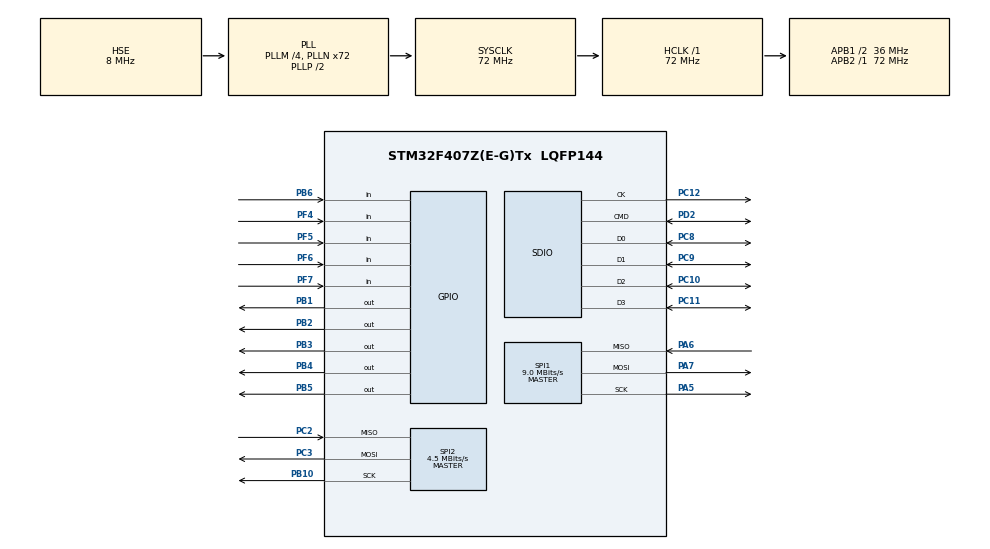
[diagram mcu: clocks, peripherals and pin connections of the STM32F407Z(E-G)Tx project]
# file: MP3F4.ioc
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FATFS._FS_LOCK=16
Mcu.Family=STM32F4
Mcu.Name=STM32F407Z(E-G)Tx
Mcu.Package=LQFP144
NVIC.PriorityGroup=NVIC_PRIORITYGROUP_4
NVIC.SDIO_IRQn=true\:0\:0\:false\:false\:true\:true
PA13.Mode=Trace_Synchro_2bits_SW
PA13.Signal=SYS_JTMS-SWDIO
PA14.Mode=Trace_Synchro_2bits_SW
PA14.Signal=SYS_JTCK-SWCLK
PA5.Mode=Full_Duplex_Master
PA5.Signal=SPI1_SCK
PA6.Mode=Full_Duplex_Master
PA6.Signal=SPI1_MISO
PA7.Mode=Full_Duplex_Master
PA7.Signal=SPI1_MOSI
PB1.GPIO_Speed=GPIO_SPEED_FREQ_MEDIUM
PB1.Signal=GPIO_Output
PB10.Mode=Full_Duplex_Master
PB10.Signal=SPI2_SCK
PB2.GPIO_Speed=GPIO_SPEED_FREQ_MEDIUM
PB2.Signal=GPIO_Output
PB3.GPIO_Speed=GPIO_SPEED_FREQ_LOW
PB3.Signal=GPIO_Output
PB4.GPIO_Speed=GPIO_SPEED_FREQ_LOW
PB4.Signal=GPIO_Output
PB5.GPIO_Speed=GPIO_SPEED_FREQ_MEDIUM
PB5.Signal=GPIO_Output
PB6.Signal=GPIO_Input
PC10.Mode=SD_4_bits_Wide_bus
PC10.Signal=SDIO_D2
PC11.Mode=SD_4_bits_Wide_bus
PC11.Signal=SDIO_D3
PC12.Mode=SD_4_bits_Wide_bus
PC12.Signal=SDIO_CK
PC2.Mode=Full_Duplex_Master
PC2.Signal=SPI2_MISO
PC3.Mode=Full_Duplex_Master
PC3.Signal=SPI2_MOSI
PC8.Mode=SD_4_bits_Wide_bus
PC8.Signal=SDIO_D0
PC9.Mode=SD_4_bits_Wide_bus
PC9.Signal=SDIO_D1
PD2.Mode=SD_4_bits_Wide_bus
PD2.Signal=SDIO_CMD
PE2.Mode=Trace_Synchro_2bits_SW
PE2.Signal=SYS_TRACECLK
PE3.Mode=Trace_Synchro_2bits_SW
PE3.Signal=SYS_TRACED0
PE4.Mode=Trace_Synchro_2bits_SW
PE4.Signal=SYS_TRACED1
PF4.GPIO_PuPd=GPIO_PULLUP
PF4.Signal=GPIO_Input
PF5.GPIO_PuPd=GPIO_PULLUP
PF5.Signal=GPIO_Input
PF6.GPIO_PuPd=GPIO_PULLUP
PF6.Signal=GPIO_Input
PF7.GPIO_PuPd=GPIO_PULLUP
PF7.Signal=GPIO_Input
PH0-OSC_IN.Mode=HSE-External-Oscillator
PH0-OSC_IN.Signal=RCC_OSC_IN
PH1-OSC_OUT.Mode=HSE-External-Oscillator
PH1-OSC_OUT.Signal=RCC_OSC_OUT
ProjectManager.HeapSize=0x7F00
ProjectManager.StackSize=0x2000
ProjectManager.TargetToolchain=MDK-ARM V5
RCC.48MHZClocksFreq_Value=48000000
RCC.AHBFreq_Value=72000000
RCC.APB1CLKDivider=RCC_HCLK_DIV2
RCC.APB1Freq_Value=36000000
RCC.APB1TimFreq_Value=72000000
RCC.APB2Freq_Value=72000000
RCC.APB2TimFreq_Value=72000000
RCC.CortexFreq_Value=72000000
RCC.HCLKFreq_Value=72000000
RCC.HSE_VALUE=8000000
RCC.HSI_VALUE=16000000
RCC.PLLM=4
RCC.PLLN=72
RCC.PLLQ=3
RCC.PLLSourceVirtual=RCC_PLLSOURCE_HSE
RCC.RCC_RTC_Clock_Source=RCC_RTCCLKSOURCE_LSI
RCC.RCC_RTC_Clock_SourceVirtual=RCC_RTCCLKSOURCE_LSE
RCC.SYSCLKFreq_VALUE=72000000
RCC.SYSCLKSource=RCC_SYSCLKSOURCE_PLLCLK
RCC.VCOOutputFreq_Value=144000000
RTC.Date=7
RTC.Format=RTC_FORMAT_BIN
RTC.Hours=15
RTC.Minutes=38
RTC.Month=RTC_MONTH_FEBRUARY
RTC.StoreOperation=RTC_STOREOPERATION_SET
RTC.WeekDay=RTC_WEEKDAY_WEDNESDAY
RTC.Year=18
SDIO.ClockDiv=5
SPI1.BaudRatePrescaler=SPI_BAUDRATEPRESCALER_8
SPI1.CLKPolarity=SPI_POLARITY_HIGH
SPI1.CalculateBaudRate=9.0 MBits/s
SPI1.Direction=SPI_DIRECTION_2LINES
SPI1.Mode=SPI_MODE_MASTER
SPI1.VirtualType=VM_MASTER
SPI2.BaudRatePrescaler=SPI_BAUDRATEPRESCALER_8
SPI2.CRCCalculation=SPI_CRCCALCULATION_DISABLE
SPI2.CalculateBaudRate=4.5 MBits/s
SPI2.Direction=SPI_DIRECTION_2LINES
SPI2.Mode=SPI_MODE_MASTER
SPI2.VirtualType=VM_MASTER
VP_FATFS_VS_SDIO.Mode=SDIO
VP_RTC_VS_RTC_Activate.Mode=RTC_Enabled
VP_RTC_VS_RTC_Calendar.Mode=RTC_Calendar
board=MP3F4

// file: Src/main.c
/**
  ******************************************************************************
  * File Name          : main.c
  * Description        : Main program body
  ******************************************************************************
  * This notice applies to any and all portions of this file
  * that are not between comment pairs USER CODE BEGIN and
  * USER CODE END. Other portions of this file, whether
  * inserted by the user or by software development tools
  * are owned by their respective copyright owners.
  *
  * Copyright (c) 2018 STMicroelectronics International N.V.
  * All rights reserved.
  *
  * Redistribution and use in source and binary forms, with or without
  * modification, are permitted, provided that the following conditions are met:
  *
  * 1. Redistribution of source code must retain the above copyright notice,
  *    this list of conditions and the following disclaimer.
  * 2. Redistributions in binary form must reproduce the above copyright notice,
  *    this list of conditions and the following disclaimer in the documentation
  *    and/or other materials provided with the distribution.
  * 3. Neither the name of STMicroelectronics nor the names of other
  *    contributors to this software may be used to endorse or promote products
  *    derived from this software without specific written permission.
  * 4. This software, including modifications and/or derivative works of this
  *    software, must execute solely and exclusively on microcontroller or
  *    microprocessor devices manufactured by or for STMicroelectronics.
  * 5. Redistribution and use of this software other than as permitted under
  *    this license is void and will automatically terminate your rights under
  *    this license.
  *
  * THIS SOFTWARE IS PROVIDED BY STMICROELECTRONICS AND CONTRIBUTORS "AS IS"
  * AND ANY EXPRESS, IMPLIED OR STATUTORY WARRANTIES, INCLUDING, BUT NOT
  * LIMITED TO, THE IMPLIED WARRANTIES OF MERCHANTABILITY, FITNESS FOR A
  * PARTICULAR PURPOSE AND NON-INFRINGEMENT OF THIRD PARTY INTELLECTUAL PROPERTY
  * RIGHTS ARE DISCLAIMED TO THE FULLEST EXTENT PERMITTED BY LAW. IN NO EVENT
  * SHALL STMICROELECTRONICS OR CONTRIBUTORS BE LIABLE FOR ANY DIRECT, INDIRECT,
  * INCIDENTAL, SPECIAL, EXEMPLARY, OR CONSEQUENTIAL DAMAGES (INCLUDING, BUT NOT
  * LIMITED TO, PROCUREMENT OF SUBSTITUTE GOODS OR SERVICES; LOSS OF USE, DATA,
  * OR PROFITS; OR BUSINESS INTERRUPTION) HOWEVER CAUSED AND ON ANY THEORY OF
  * LIABILITY, WHETHER IN CONTRACT, STRICT LIABILITY, OR TORT (INCLUDING
  * NEGLIGENCE OR OTHERWISE) ARISING IN ANY WAY OUT OF THE USE OF THIS SOFTWARE,
  * EVEN IF ADVISED OF THE POSSIBILITY OF SUCH DAMAGE.
  *
  ******************************************************************************
  */
#include "main.h"
#include "stm32f4xx_hal.h"
#include "fatfs.h"

/* USER CODE BEGIN Includes */
#include "lcd_ili9341.h"
#include "vs1053b.h"
#include "string.h"
/* USER CODE END Includes */

RTC_HandleTypeDef hrtc;

SD_HandleTypeDef hsd;

SPI_HandleTypeDef hspi1;
SPI_HandleTypeDef hspi2;

/* USER CODE BEGIN PV */
/* Private variables ---------------------------------------------------------*/
FATFS SDfat;
uint8_t keySta=0;
uint8_t sofSta = 0;
fileNumber numOfFile;
uint8_t needReprint = 0;
uint8_t fullSchedule=0;
GPIO_TypeDef *ports[] = {GPIOF, GPIOF, GPIOF, GPIOF};
uint16_t keys[] = {GPIO_PIN_4, GPIO_PIN_5, GPIO_PIN_6, GPIO_PIN_7};
char *weekday[]={"MON","TUE","WED","THU","FRI","SAT","SUN"};
	uint8_t numofmon[]={31,28,31,30,31,30,31,31,30,31,30,31};
/* USER CODE END PV */

void SystemClock_Config(void);
static void MX_GPIO_Init(void);
static void MX_SDIO_SD_Init(void);
static void MX_SPI1_Init(void);
static void MX_SPI2_Init(void);
static void MX_RTC_Init(void);

/* USER CODE BEGIN PFP */
/* Private function prototypes -----------------------------------------------*/
void show_Sub_Menu(stack *now, uint16_t choosen, uint8_t type,
                   uint8_t refresh);
void show_Title(void);
/* USER CODE END PFP */

/* USER CODE BEGIN 0 */
void show_Schedule_Menu(uint8_t choosen) {
	for(int i=0;i<6;i++){
		drawRectangle(0, 42 + 20*i , 240, 18, RGB(0xaa, 0xaa, 0xaa));
	}
	drawRectangle(0, 42 + 20*choosen, 240, 18, RGB(0xdd, 0xdd, 0xdd));
	drawEnSentence(0,47,"Start Schedule",14,0x0000);
	drawEnSentence(0,67,"Set Time",8,0x0000);
	drawEnSentence(0,87,"View Rule",9,0x0000);
	drawEnSentence(0,107,"Add new Rule",12,0x0000);
	drawEnSentence(0,127,"Delete Rule",11,0x0000);
	drawEnSentence(0,147,"Clear Rule",10,0x0000);
}

void Set_Time(){
	uint8_t i=0;
	uint8_t delayTime=100;
	RTC_TimeTypeDef sTime;
	sTime.Hours=0;
	sTime.Minutes=0;
	sTime.Seconds=0;
  RTC_DateTypeDef sDate;
	sDate.Year=0;
  sDate.WeekDay = RTC_WEEKDAY_MONDAY;
  sDate.Month = RTC_MONTH_JANUARY;
  sDate.Date = 0;

	uint8_t needPrint=1;
	uint8_t step=0;
	char tempchar[20];

	while(1){

    for (i = 0; i < 4; i++) {
      if (0 == HAL_GPIO_ReadPin(ports[i], keys[i])) {
        HAL_Delay(10);
        if (0 == HAL_GPIO_ReadPin(ports[i], keys[i])) {
          if(i!=2 && keySta==i){
						delayTime=10;
					}else{
						delayTime=100;
					}
					break;
				}
      }
    }

		keySta=i;

		if(step==0){
			if(keySta == 0 && sDate.Year > 0) {
        sDate.Year--;
				needPrint=1;
      } else if (keySta == 1 && sDate.Year < 99) {
        sDate.Year++;
				needPrint=1;
      } else if (keySta == 2) {
				HAL_Delay(50);
				step++;
			} else if(keySta == 3){
				return;
			}
		}else if(step==1){
			if(keySta == 0 && sDate.Month > 1) {
        sDate.Month--;
				needPrint=1;
      } else if (keySta == 1 && sDate.Month < 12) {
        sDate.Month++;
				needPrint=1;
      } else if (keySta == 2) {
				HAL_Delay(50);
				step++;
			} else if(keySta == 3){
				return;
			}
		}else if(step==3){
			if(keySta == 0 && sDate.WeekDay > 1) {
        sDate.WeekDay--;
				needPrint=1;
      } else if (keySta == 1 && sDate.WeekDay < 7) {
        sDate.WeekDay++;
				needPrint=1;
      } else if (keySta == 2) {
				HAL_Delay(50);
				step++;
			} else if(keySta == 3){
				return;
			}
		}else if(step==2){
			if(keySta == 0 && sDate.Date > 1) {
        sDate.Date--;
				needPrint=1;
      } else if (keySta == 1 && sDate.Date < numofmon[sDate.Month-1]) {
        sDate.Date++;
				needPrint=1;
      } else if (keySta == 2) {
				HAL_Delay(50);
				step++;
			} else if(keySta == 3){
				return;
			}
		}else if(step==4){
			if(keySta == 0 && sTime.Hours > 0) {
        sTime.Hours--;
				needPrint=1;
      } else if (keySta == 1 && sTime.Hours < 23) {
        sTime.Hours++;
				needPrint=1;
      } else if (keySta == 2) {
				HAL_Delay(50);
				step++;
			} else if(keySta == 3){
				return;
			}
		}else if(step==5){
			if(keySta == 0 && sTime.Minutes > 0) {
        sTime.Minutes--;
				needPrint=1;
      } else if (keySta == 1 && sTime.Minutes < 59) {
        sTime.Minutes++;
				needPrint=1;
      } else if (keySta == 2) {
				HAL_Delay(50);
				step++;
			} else if(keySta == 3){
				return;
			}
		}else if(step==6){
			drawEnSentence(120-9*strlen("Confirm[Y/N]")/2,200,"Confirm[Y/N]",strlen("Confirm[Y/N]"),0x0000);
			if (keySta == 2) {

				  hrtc.Instance = RTC;
					hrtc.Init.HourFormat = RTC_HOURFORMAT_24;
					hrtc.Init.AsynchPrediv = 127;
					hrtc.Init.SynchPrediv = 255;
					hrtc.Init.OutPut = RTC_OUTPUT_DISABLE;
					hrtc.Init.OutPutPolarity = RTC_OUTPUT_POLARITY_HIGH;
					hrtc.Init.OutPutType = RTC_OUTPUT_TYPE_OPENDRAIN;

				sTime.DayLightSaving = RTC_DAYLIGHTSAVING_NONE;
				sTime.StoreOperation = RTC_STOREOPERATION_SET;
				HAL_RTC_Init(&hrtc);
				HAL_RTC_SetDate(&hrtc,&sDate,RTC_FORMAT_BIN);
				HAL_RTC_SetTime(&hrtc,&sTime,RTC_FORMAT_BIN);
				return;
			} else if(keySta == 3){
				return;
			}
		}
		if(needPrint){
			drawRectangle(0,160,240,60,0xffff);
			sprintf(tempchar,"20%02d.%d.%d %s",sDate.Year,sDate.Month,sDate.Date,weekday[sDate.WeekDay-1]);
			drawEnSentence(120-9*strlen(tempchar)/2,160,tempchar,strlen(tempchar),0x0000);
			sprintf(tempchar,"%02d:%02d",sTime.Hours,sTime.Minutes);
			drawEnSentence(120-9*strlen(tempchar)/2,180,tempchar,strlen(tempchar),0x0000);
			needPrint=0;
		}
		HAL_Delay(delayTime);
	}
}

void create_Shfile(){
	FIL sdfile;
	f_open(&sdfile, "0:/Sch.lis", FA_CREATE_ALWAYS);
  HAL_Delay(1);
  f_close(&sdfile);
}

void write_Shfile(uint8_t *timedata,uint8_t * path){
	FIL sdfile;
	FRESULT res;
	uint32_t bw;
	f_open(&sdfile, "0:/Sch.lis", FA_WRITE);
  HAL_Delay(1);
	res = f_lseek(&sdfile, f_size(&sdfile));
  if (res != FR_OK) return;
  res = f_write(&sdfile, timedata, 4, &bw);
	res = f_write(&sdfile, path, 40, &bw);
  res = f_close(&sdfile);
}

void read_Shfile(uint8_t *timedata,uint8_t * path,uint8_t index){
	FIL sdfile;
	FRESULT res;
	uint32_t bw;
	f_open(&sdfile, "0:/Sch.lis", FA_READ);
  HAL_Delay(1);
	res = f_lseek(&sdfile, 44*index);
  if (res != FR_OK) return;
  res = f_read(&sdfile, timedata, 4, &bw);
	res = f_read(&sdfile, path, 40, &bw);
  res = f_close(&sdfile);
}

uint8_t read_Slot(uint8_t *path, uint8_t *timeData, uint8_t index){
	read_Shfile(timeData,path,index);
	return timeData[0];
}

void start_Schedule(){
	RTC_DateTypeDef sDate;
	RTC_TimeTypeDef sTime;
	FIL ScheduleFil;
	uint8_t numofSlot;
	f_open(&ScheduleFil,"0:/Sch.lis",FA_READ);
	numofSlot=f_size(&ScheduleFil)/44;
	f_close(&ScheduleFil);
	uint8_t nextSlot=0;
	uint8_t timeData[4];
	uint8_t path[40];
	uint32_t minTime=0xffffffff;
	uint32_t timetoNext=0;
	char tempchar[24];

	while(1){

		 if (0 == HAL_GPIO_ReadPin(ports[3], keys[3])) {
       HAL_Delay(2000);
        if (0 == HAL_GPIO_ReadPin(ports[3], keys[3])) {
					return;
				}
      }
		show_Title();
		timetoNext=0;
		HAL_RTC_GetTime(&hrtc,&sTime,RTC_FORMAT_BIN);
		HAL_RTC_GetDate(&hrtc,&sDate,RTC_FORMAT_BIN);

		for(int i=0;i<numofSlot;i++){
			if(read_Slot(path,timeData,i)){
				if(timeData[1]>numofmon[sDate.Month-1]) continue;
				if(timeData[1]<sDate.Date){
					timetoNext=24*60*(numofmon[sDate.Month-1]+sDate.Date-1-timeData[1])+timeData[2]*60+timeData[3]+(23-sTime.Hours)*60+(59-sTime.Minutes);
				}else if(timeData[1]==sDate.Date){
					if(timeData[2]<sTime.Hours){
						timetoNext=24*60*(numofmon[sDate.Month-1]+sDate.Date-1-timeData[1])+timeData[2]*60+timeData[3]+(23-sTime.Hours)*60+(59-sTime.Minutes);
					}else if(timeData[2]==sTime.Hours){
						if(timeData[3]<sTime.Minutes){
							timetoNext=24*60*(numofmon[sDate.Month-1]+sDate.Date-1-timeData[1])+timeData[2]*60+timeData[3]+(23-sTime.Hours)*60+(59-sTime.Minutes);
						}else{
							timetoNext=timeData[3]-sTime.Minutes;
						}
					}else{
						timetoNext=(timeData[2]-sTime.Hours)*60+timeData[3]-sTime.Minutes;
					}
				}else{
					timetoNext=24*60*(timeData[1]-sDate.WeekDay-1)+timeData[2]*60+timeData[3]+(23-sTime.Hours)*60+(59-sTime.Minutes);
				}
			}else{
				if(timeData[1]<sDate.WeekDay){
					timetoNext=24*60*(7+sDate.WeekDay-1-timeData[1])+timeData[2]*60+timeData[3]+(23-sTime.Hours)*60+(59-sTime.Minutes);
				}else if(timeData[1]==sDate.WeekDay){
					if(timeData[2]<sTime.Hours){
						timetoNext=24*60*(7+sDate.WeekDay-1-timeData[1])+timeData[2]*60+timeData[3]+(23-sTime.Hours)*60+(59-sTime.Minutes);
					}else if(timeData[2]==sTime.Hours){
						if(timeData[3]<sTime.Minutes){
							timetoNext=24*60*(7+sDate.WeekDay-1-timeData[1])+timeData[2]*60+timeData[3]+(23-sTime.Hours)*60+(59-sTime.Minutes);
						}else{
							timetoNext=timeData[3]-sTime.Minutes;
						}
					}else{
						timetoNext=(timeData[2]-sTime.Hours)*60+timeData[3]-sTime.Minutes;
					}
				}else{
					timetoNext=24*60*(timeData[1]-sDate.WeekDay-1)+timeData[2]*60+timeData[3]+(23-sTime.Hours)*60+(59-sTime.Minutes);
				}
			}
			if(timetoNext<minTime){
				minTime=timetoNext;
				nextSlot=i;
			}
		}

			sprintf(tempchar,"20%02d.%d.%d %s",sDate.Year,sDate.Month,sDate.Date,weekday[sDate.WeekDay-1]);
			drawEnSentence(120-9*strlen(tempchar)/2,100,tempchar,strlen(tempchar),0x0000);
			sprintf(tempchar,"%02d:%02d",sTime.Hours,sTime.Minutes);
			drawEnSentence(120-9*strlen(tempchar)/2,120,tempchar,strlen(tempchar),0x0000);

		if(read_Slot(path,timeData,nextSlot)){
			sprintf(tempchar,"At %02d:%02d On %02d",timeData[2],timeData[3],timeData[1]);
		}else{
			sprintf(tempchar,"At %02d:%02d On %s",timeData[2],timeData[3],weekday[timeData[1]-1]);
		}

		drawEnSentence(120-9*strlen((char *)path)/2,160,(char *)path,strlen((char *)path),0x0000);
		drawEnSentence(120-9*strlen(tempchar)/2,180,tempchar,strlen(tempchar),0x0000);

		if(minTime==0){
			vs1053b_play_music((char *)path);
			continue;
		}

		HAL_Delay(5000);
	}
}

void create_Slot(){
	uint8_t choosen=0;
	uint8_t delayTime=100;
	uint8_t i=0;
	uint8_t step=0;
	uint8_t refresh=0;
	stack now;
	uint8_t isfirst=1;
	uint8_t tempMp3[40];
	uint8_t timeData[4];
	uint8_t tempchar[10];

	while(1){
    for (i = 0; i < 4; i++) {
      if (0 == HAL_GPIO_ReadPin(ports[i], keys[i])) {
        HAL_Delay(10);
        if (0 == HAL_GPIO_ReadPin(ports[i], keys[i])) {
          if(i!=2 && keySta==i){
						delayTime=10;
					}else{
						delayTime=120;
					}
					break;
				}
      }
    }

		keySta=i;

		if(step==0){
			if(isfirst){
				show_Title();
				now.nums = numOfFile.mp3;
        show_Sub_Menu(&now, 0, 0, 1);
				isfirst=0;
			}
      if (keySta == 0 && choosen > 0) {
        choosen--;
        if (choosen % 14 == 13) refresh = 1;
				now.nums = numOfFile.mp3;
				show_Sub_Menu(&now, choosen, 0, refresh);
				refresh = 0;
      } else if (keySta == 1 && choosen < numOfFile.mp3 - 1) {
        choosen++;
        if (choosen % 14 == 0) refresh = 1;
				now.nums = numOfFile.mp3;
				show_Sub_Menu(&now, choosen, 0, refresh);
				refresh = 0;
      } else if (keySta == 2) {
				now.nums = fullSchedule - choosen;
				getData(&now,0);
				strcpy((char *)tempMp3,now.path);
				step++;
				isfirst=1;
				HAL_Delay(50);
			} else if(keySta == 3){
				return;
			}
		}else if(step==1){
			if(isfirst){
				show_Title();
				choosen=1;
				isfirst=0;
				drawRectangle(0, 42 , 240, 18, RGB(0xdd, 0xdd, 0xdd));
				drawEnSentence(0,47,"By Date",strlen("By Date"),0x0000);
				drawRectangle(0, 42+20 , 240, 18, RGB(0xaa, 0xaa, 0xaa));
				drawEnSentence(0,47+20,"By Weekday",strlen("By Weekday"),0x0000);
			}
			if(keySta == 0 && choosen == 0){
				drawRectangle(0, 42 , 240, 18, RGB(0xdd, 0xdd, 0xdd));
				drawEnSentence(0,47,"By Date",strlen("By Date"),0x0000);
				drawRectangle(0, 42+20 , 240, 18, RGB(0xaa, 0xaa, 0xaa));
				drawEnSentence(0,47+20,"By Weekday",strlen("By Weekday"),0x0000);
				choosen=1;
			}else if (keySta == 1 && choosen ==1){
				drawRectangle(0, 42 , 240, 18, RGB(0xaa, 0xaa, 0xaa));
				drawEnSentence(0,47,"By Date",strlen("By Date"),0x0000);
				drawRectangle(0, 42+20 , 240, 18, RGB(0xdd, 0xdd, 0xdd));
				drawEnSentence(0,47+20,"By Weekday",strlen("By Weekday"),0x0000);
				choosen=0;
			}else if (keySta == 2){
				isfirst=1;
				step++;
				timeData[0]=choosen;
				HAL_Delay(50);
			}else if(keySta == 3){
				return;
			}
		}else if(step==2){
			if(timeData[0]==1){
				if(isfirst){
					//show_Title();
					choosen=0;
					isfirst=0;
					drawRectangle(0, 42 , 240, 18, RGB(0xaa, 0xaa, 0xaa));
					drawEnSentence(0,47,"By Date",strlen("By Date"),0x0000);
					sprintf((char *)tempchar,"%d",choosen);
					drawRectangle(0, 42+20 , 240, 18, RGB(0xdd, 0xdd, 0xdd));
					drawEnSentence(0,47+20,(char *)tempchar,strlen((char *)tempchar),0x0000);
				}
				if(keySta == 0 && choosen > 1){
					choosen--;
					sprintf((char *)tempchar,"%d",choosen);
					drawRectangle(0, 42+20 , 240, 18, RGB(0xdd, 0xdd, 0xdd));
					drawEnSentence(0,47+20,(char *)tempchar,strlen((char *)tempchar),0x0000);
				}else if(keySta == 1 && choosen <31){
					choosen++;
					sprintf((char *)tempchar,"%d",choosen);
					drawRectangle(0, 42+20 , 240, 18, RGB(0xdd, 0xdd, 0xdd));
					drawEnSentence(0,47+20,(char *)tempchar,strlen((char *)tempchar),0x0000);
				}else if(keySta == 2){
					isfirst=1;
					step++;
					timeData[1]=choosen;
					HAL_Delay(50);
				}else if(keySta == 3){
					return;
				}
			}else	if(timeData[0]==0){
				if(isfirst){
					//show_Title();
					choosen=1;
					isfirst=0;
					drawRectangle(0, 42 , 240, 18, RGB(0xaa, 0xaa, 0xaa));
					drawEnSentence(0,47,"By Weekday",strlen("By Weekday"),0x0000);
					drawRectangle(0, 42+20 , 240, 18, RGB(0xdd, 0xdd, 0xdd));
					drawEnSentence(0,47+20,weekday[choosen-1],4,0x0000);
				}
				if(keySta == 0 && choosen > 1){
					choosen--;
					drawRectangle(0, 42+20 , 240, 18, RGB(0xdd, 0xdd, 0xdd));
					drawEnSentence(0,47+20,weekday[choosen-1],4,0x0000);
				}else if(keySta == 1 && choosen <7){
					choosen++;
					drawRectangle(0, 42+20 , 240, 18, RGB(0xdd, 0xdd, 0xdd));
					drawEnSentence(0,47+20,weekday[choosen-1],4,0x0000);
				}else if(keySta == 2){
					isfirst=1;
					step++;
					timeData[1]=choosen;
					HAL_Delay(50);
				}else if(keySta == 3){
					return;
				}
			}
		}else if(step==3){
			if(isfirst){
				//show_Title();
				choosen=0;
				isfirst=0;
				drawRectangle(0, 42 , 240, 18, RGB(0xaa, 0xaa, 0xaa));
				drawEnSentence(0,47,"By Weekday",strlen("By Weekday"),0x0000);
				if(timeData[0]==1){
					sprintf((char *)tempchar,"%d",timeData[1]);
					drawRectangle(0, 42+20 , 240, 18, RGB(0xaa, 0xaa, 0xaa));
					drawEnSentence(0,47+20,(char *)tempchar,strlen((char *)tempchar),0x0000);
				}else{
					drawRectangle(0, 42+20 , 240, 18, RGB(0xaa, 0xaa, 0xaa));
					drawEnSentence(0,47+20,weekday[choosen],4,0x0000);
				}
				sprintf((char *)tempchar,"%02d:",choosen);
				drawRectangle(0, 42+40 , 240, 18, RGB(0xdd, 0xdd, 0xdd));
				drawEnSentence(0,47+40,(char *)tempchar,strlen((char *)tempchar),0x0000);
			}
			if(keySta == 0 && choosen > 0){
				choosen--;
				sprintf((char *)tempchar,"%02d:",choosen);
				drawRectangle(0, 42+40 , 240, 18, RGB(0xdd, 0xdd, 0xdd));
				drawEnSentence(0,47+40,(char *)tempchar,strlen((char *)tempchar),0x0000);
			}else if(keySta == 1 && choosen <23){
				choosen++;
				sprintf((char *)tempchar,"%02d:",choosen);
				drawRectangle(0, 42+40 , 240, 18, RGB(0xdd, 0xdd, 0xdd));
				drawEnSentence(0,47+40,(char *)tempchar,strlen((char *)tempchar),0x0000);
			}else if(keySta == 2){
				isfirst=1;
				step++;
				timeData[2]=choosen;
				HAL_Delay(50);
			}else if(keySta == 3){
					return;
			}
		}else if(step==4){
			if(isfirst){
				//show_Title();
				choosen=0;
				isfirst=0;
				drawRectangle(0, 42 , 240, 18, RGB(0xaa, 0xaa, 0xaa));
				drawEnSentence(0,47,"By Weekday",strlen("By Weekday"),0x0000);
				if(timeData[0]==1){
					sprintf((char *)tempchar,"%d",timeData[1]);
					drawRectangle(0, 42+20 , 240, 18, RGB(0xaa, 0xaa, 0xaa));
					drawEnSentence(0,47+20,(char *)tempchar,strlen((char *)tempchar),0x0000);
				}else{
					drawRectangle(0, 42+20 , 240, 18, RGB(0xaa, 0xaa, 0xaa));
					drawEnSentence(0,47+20,weekday[choosen],4,0x0000);
				}
				sprintf((char *)tempchar,"%02d:%02d",timeData[2],0);
				drawRectangle(0, 42+40 , 240, 18, RGB(0xdd, 0xdd, 0xdd));
				drawEnSentence(0,47+40,(char *)tempchar,strlen((char *)tempchar),0x0000);
			}
			if(keySta == 0 && choosen > 0){
				choosen--;
				sprintf((char *)tempchar,"%02d:%02d",timeData[2],choosen);
				drawRectangle(0, 42+40 , 240, 18, RGB(0xdd, 0xdd, 0xdd));
				drawEnSentence(0,47+40,(char *)tempchar,strlen((char *)tempchar),0x0000);
			}else if(keySta == 1 && choosen <59){
				choosen++;
				sprintf((char *)tempchar,"%02d:%02d",timeData[2],choosen);
				drawRectangle(0, 42+40 , 240, 18, RGB(0xdd, 0xdd, 0xdd));
				drawEnSentence(0,47+40,(char *)tempchar,strlen((char *)tempchar),0x0000);
			}else if(keySta == 2){
				isfirst=1;
				step++;
				timeData[3]=choosen;
				HAL_Delay(50);
			}else if(keySta == 3){
					return;
			}
		}else if(step==5){
			write_Shfile(timeData,tempMp3);
			return;
		}
		HAL_Delay(delayTime);
	}
}

void show_Schedule(void){
	uint8_t i=0;
	uint8_t numofSlot=0;
	FIL ScheduleFil;
	uint8_t timeData[4];
	uint8_t path[40];
	uint8_t tempchar[20];
	uint8_t page=0;
	uint8_t nowpage=0;

	f_open(&ScheduleFil,"0:/Sch.lis",FA_READ);
	numofSlot=f_size(&ScheduleFil)/44;
	for(int n=0;;n++){
		if(numofSlot<=7*(n+1)){
			page=n;
			break;
		}
	}

	f_close(&ScheduleFil);
	needReprint=1;
	while(1){
    for (i = 0; i < 4; i++) {
      if (0 == HAL_GPIO_ReadPin(ports[i], keys[i])) {
        HAL_Delay(10);
        if (0 == HAL_GPIO_ReadPin(ports[i], keys[i])) {
					break;
				}
      }
    }

		keySta=i;

		if(keySta==0 && nowpage>0){
			nowpage--;
			needReprint=1;
			show_Title();
		}else if(keySta==1 && nowpage<page){
			nowpage++;
			needReprint=1;
			show_Title();
		}else if(keySta==3){
			return;
		}

		if(needReprint==1){
			for(int n=0;n<7 && n<numofSlot-nowpage*7;n++){
				if(read_Slot(path,timeData,n+nowpage*7)){
					drawRectangle(0, 42 + 40 * n, 240, 18, RGB(0xaa, 0xaa, 0xaa));
					drawEnSentence(0, 47 + 40 * n, (char *)path, strlen((char *)path),
												 RGB(0, 0, 0));
					sprintf((char *)tempchar,"At %02d:%02d On %02d",timeData[2],timeData[3],timeData[1]);
					drawRectangle(0, 42 + 40 * n+20, 240, 18, RGB(0xaa, 0xaa, 0xaa));
					drawEnSentence(0, 47 + 40 * n+20, (char *)tempchar, strlen((char *)tempchar),
												 RGB(0, 0, 0));
				}else{
					drawRectangle(0, 42 + 40 * n, 240, 18, RGB(0xaa, 0xaa, 0xaa));
					drawEnSentence(0, 47 + 40 * n, (char *)path, strlen((char *)path),
												 RGB(0, 0, 0));
					sprintf((char *)tempchar,"At %02d:%02d On %s",timeData[2],timeData[3],weekday[timeData[1]-1]);
					drawRectangle(0, 42 + 40 * n+20, 240, 18, RGB(0xaa, 0xaa, 0xaa));
					drawEnSentence(0, 47 + 40 * n+20, (char *)tempchar, strlen((char *)tempchar),
												 RGB(0, 0, 0));
				}
			}
			needReprint=0;
		}
	}
}

void Schedule_Mode(){
	uint8_t delayTime=100;
  uint8_t choosen = 0;
	uint8_t i;

	show_Title();
	show_Schedule_Menu(0);

	while(1){
    for (i = 0; i < 4; i++) {
      if (0 == HAL_GPIO_ReadPin(ports[i], keys[i])) {
        HAL_Delay(10);
        if (0 == HAL_GPIO_ReadPin(ports[i], keys[i])) {
          if(keySta==i){
						delayTime=10;
					}else{
						delayTime=100;
					}
					break;
				}
      }
    }
		keySta=i;

		if(keySta==0 && choosen >0){
			choosen--;
			//show_Title();
			show_Schedule_Menu(choosen);
		}else if(keySta==1 && choosen <5){
			choosen++;
			//show_Title();
			show_Schedule_Menu(choosen);
		}else if(keySta==2 ){
			switch(choosen){
				case 0:
					show_Title();
					start_Schedule();
					break;
				case 1:
					show_Title();
					Set_Time();
					break;
				case 2:
					show_Title();
					show_Schedule();
					break;
				case 3:
					show_Title();
					create_Slot();
					break;
				case 4:
					break;
				case 5:
					show_Title();
					drawEnSentence(120-9*strlen("Confirm[Y/N]")/2,180,"Confirm[Y/N]",strlen("Confirm[Y/N]"),0x0000);
					while(1){
						for (i = 0; i < 4; i++) {
							if (0 == HAL_GPIO_ReadPin(ports[i], keys[i])) {
								HAL_Delay(10);
								if (0 == HAL_GPIO_ReadPin(ports[i], keys[i])) {
									if(keySta==i){
										delayTime=10;
									}else{
										delayTime=100;
									}
									break;
								}
							}
						}
						keySta=i;
						if(keySta==2){create_Shfile();break;}
						else if(keySta==3) break;
					}
					break;

			}
			show_Title();
			show_Schedule_Menu(choosen);
		}
		HAL_Delay(delayTime);
	}

}

void show_Welcome(void) {
  drawRectangle(0, 0, 240, 320, 0x0000);
  drawPictu(60, 120, "0:/welcome");
  drawCnSentence(75, 300, "��Ů������", strlen("��Ů������"), 0xffff,0x0000);
}

void show_Title(void) {
  drawRectangle(0, 0, 240, 40, RGB(0x01, 0xff, 0x66));
  drawEnSentence(62, 16, "LITTLE PLAYER", strlen("LITTLE PLAYER"), 0x0000);
  drawRectangle(0, 40, 240, 280, RGB(0xff, 0xff, 0xff));
}

void show_Main_Menu(uint16_t choosen) {
  drawPictu(88, 62, "0:/music");
  drawPictu(88, 148, "0:/file");
  drawPictu(88, 234, "0:/photos");

  drawEnSentence(75, 130, "MP3 PLAYER", strlen("MP3 Player"), 0x0000);
  drawEnSentence(75, 216, "TXT VIEWER", strlen("TXT Viewer"), 0x0000);
  drawEnSentence(75, 302, "BMP VIEWER", strlen("BMP Viewer"), 0x0000);

  drawRectangle(55, 89, 11, 11, RGB(0xff, 0xff, 0xff));
  drawRectangle(55, 175, 11, 11, RGB(0xff, 0xff, 0xff));
  drawRectangle(55, 261, 11, 11, RGB(0xff, 0xff, 0xff));
  drawCircul(60, 94 + 86 * choosen, 5, 0x0000);
}

void show_Sub_Menu(stack *now, uint16_t choosen, uint8_t type,
                   uint8_t refresh) {
  uint16_t i = 0;
  if (!now->nums) {
    drawEnSentence(0, 65, "NO DATA", strlen("NO DATA"), RGB(0, 0, 0));
  } else if (refresh) {
    drawRectangle(0, 40, 240, 280, RGB(0xff, 0xff, 0xff));
    now->nums -= (choosen / 14) * 14;
    choosen %= 14;
    while (i < 14 && !isempty(now)) {
      getData(now, type);
      if (i == choosen)
        drawRectangle(0, 42 + 20 * i, 240, 18, RGB(0xdd, 0xdd, 0xdd));
      else
        drawRectangle(0, 42 + 20 * i, 240, 18, RGB(0xaa, 0xaa, 0xaa));
      drawEnSentence(0, 47 + 20 * i, now->name, strlen(now->name) - 4,
                     RGB(0, 0, 0));
      i++;
      pop(now);
    }
  } else if(!refresh){
    now->nums -= (choosen / 14) * 14;
    choosen %= 14;
    if (choosen == 0) {
      getData(now, type);
      drawRectangle(0, 42 + 20 * i, 240, 18, RGB(0xdd, 0xdd, 0xdd));
      drawEnSentence(0, 47 + 20 * i, now->name, strlen(now->name) - 4,
                     RGB(0, 0, 0));
      pop(now);
      i++;
			if(!isempty(now)){
				getData(now, type);
				drawRectangle(0, 42 + 20 * i, 240, 18, RGB(0xaa, 0xaa, 0xaa));
				drawEnSentence(0, 47 + 20 * i, now->name, strlen(now->name) - 4,
											RGB(0, 0, 0));
			}
    } else if (choosen == 13) {
      now->nums -= 12;
      i = 12;
      getData(now, type);
      drawRectangle(0, 42 + 20 * i, 240, 18, RGB(0xaa, 0xaa, 0xaa));
      drawEnSentence(0, 47 + 20 * i, now->name, strlen(now->name) - 4,
                     RGB(0, 0, 0));
      pop(now);
      i++;
      getData(now, type);
      drawRectangle(0, 42 + 20 * i, 240, 18, RGB(0xdd, 0xdd, 0xdd));
      drawEnSentence(0, 47 + 20 * i, now->name, strlen(now->name) - 4,
                     RGB(0, 0, 0));
    } else if(choosen >0 && choosen <13) {
      now->nums -= choosen - 1;
      i = choosen - 1;
      while (i <= choosen + 1 && !isempty(now)) {
        getData(now, type);
        if (i == choosen)
          drawRectangle(0, 42 + 20 * i, 240, 18, RGB(0xdd, 0xdd, 0xdd));
        else
          drawRectangle(0, 42 + 20 * i, 240, 18, RGB(0xaa, 0xaa, 0xaa));
        drawEnSentence(0, 47 + 20 * i, now->name, strlen(now->name) - 4,
                       RGB(0, 0, 0));
        i++;
        pop(now);
      }
    }
  }
}

void show_Picture(uint16_t choosen) {
  stack now;
  now.nums = numOfFile.bmp - choosen;
  getData(&now, 2);
  drawRectangle(0, 0, 240, 320, 0x0001);
  drawPictu(0, 0, now.path);
}

uint32_t show_Txet_Page(uint16_t choosen, uint32_t position) {
  FIL txtFile;
  FRESULT res;
  stack now;
  uint32_t br;
  uint16_t bufferSended = 0;
  uint16_t x = 0;
  uint16_t y = 0;
  uint8_t oneLineNums = 0;
  uint16_t realWidth = 0;
  char txtBuffer[600];

  drawRectangle(0, 0, 240, 320, 0xffff);
  now.nums = numOfFile.txt - choosen;
  getData(&now, 1);
  res = f_open(&txtFile, now.path, FA_READ);
  res = f_lseek(&txtFile, position);
  if (res != FR_OK) return 0;
  res = f_read(&txtFile, txtBuffer, 600, &br);
  if (br == 0) {
    f_close(&txtFile);
    return 0;
  }
  for (uint16_t i = 0; i < br && y <= 300;) {
    while (1) {
      if (txtBuffer[i] == 0x0D) {
        if (i + 1 > br) break;
        if (txtBuffer[i + 1] == 0x0A) {
          i += 2;
        } else {
          i++;
        }
        break;
      } else if (txtBuffer[i] <= 0x7f && txtBuffer[i] >= ' ') {
        if (realWidth + 9 > 240) break;
        realWidth += 9;
        if (i + 1 > br) break;
        oneLineNums++;
        i++;
      } else {
        if (realWidth + 18 > 240) break;
        realWidth += 18;
        if (i + 1 > br) break;
        oneLineNums += 2;
        i += 2;
      }
    }

    drawCnSentence(x, y, txtBuffer + bufferSended, oneLineNums, 0x0000, 0xffff);
    realWidth = 0;
    oneLineNums = 0;
    bufferSended = i;
    y += 20;
  }
  f_close(&txtFile);
  return bufferSended;
}

void read_Text(uint16_t choosen) {
  uint32_t position[200];
  uint8_t page = 0;
	uint8_t delayTime=100;
  FIL txtFile;
  stack now;

  now.nums = numOfFile.txt - choosen;
  getData(&now, 1);
  f_open(&txtFile, now.path, FA_READ);
  uint32_t fullSize = f_size(&txtFile);
  f_close(&txtFile);

  position[0] = 0;

  position[1] = show_Txet_Page(choosen, position[0]);
  while (1) {
    uint8_t i;
    for (i = 0; i < 4; i++) {
      if (0 == HAL_GPIO_ReadPin(ports[i], keys[i])) {
        HAL_Delay(10);
        if (0 == HAL_GPIO_ReadPin(ports[i], keys[i])) {
          if(keySta==i){
						delayTime=10;
					}else{
						delayTime=100;
					}
					break;
				}
      }
    }

		keySta=i;

    if (keySta == 0 && page > 0) {
      page--;
      show_Txet_Page(choosen, position[page]);

    } else if (keySta == 1 && page < 200 && position[page + 1] < fullSize) {
      page++;
      position[page + 1] =
          show_Txet_Page(choosen, position[page]) + position[page];

    } else if (keySta == 3) {

      return;
    }
    HAL_Delay(delayTime);
  }
}
/* USER CODE END 0 */

int main(void)
{

  /* MCU Configuration----------------------------------------------------------*/

  /* Reset of all peripherals, Initializes the Flash interface and the Systick. */
  HAL_Init();

  /* Configure the system clock */
  SystemClock_Config();

  /* Initialize all configured peripherals */
  MX_GPIO_Init();
  MX_SDIO_SD_Init();
  MX_FATFS_Init();
  MX_SPI1_Init();
  MX_SPI2_Init();
  MX_RTC_Init();

  /* USER CODE BEGIN 2 */

	uint8_t delayTime=100;
  uint8_t choosen = 0;
  uint8_t refresh = 0;

  f_mount(&SDfat, SDPath, 0);

  lcdRestart();
  HAL_Delay(5);
  lcdInit();

  show_Welcome();
  getFile(&numOfFile);
	vs1053b_reset();

	if (0 == HAL_GPIO_ReadPin(ports[3], keys[3])) {
		HAL_Delay(2000);
		if (0 == HAL_GPIO_ReadPin(ports[3], keys[3])) {
			Schedule_Mode();
		}
	}

  HAL_Delay(1500);
  show_Title();
  show_Main_Menu(0);

  /* USER CODE END 2 */

  /* Infinite loop */
  /* USER CODE BEGIN WHILE */

  while (1)
  {
    uint8_t i;
    for (i = 0; i < 4; i++) {
      if (0 == HAL_GPIO_ReadPin(ports[i], keys[i])) {
        HAL_Delay(10);
        if (0 == HAL_GPIO_ReadPin(ports[i], keys[i])) {
          if(keySta==i){
						delayTime=10;
					}else{
						delayTime=100;
					}
					break;
				}
      }
    }

		keySta=i;

    if (sofSta == 0) {
      if (keySta == 0 && choosen > 0) {
        choosen--;
        needReprint = 1;

      } else if (keySta == 1 && choosen < 2) {
        choosen++;
        needReprint = 1;

      } else if (keySta == 2) {
        sofSta = choosen + 1;
        choosen = 0;
        show_Title();
        refresh = 1;
        needReprint = 1;
      }
    } else if (sofSta == 1) {
      if (keySta == 0 && choosen > 0) {
        choosen--;
        if (choosen % 14 == 13) refresh = 1;
        needReprint = 1;
      } else if (keySta == 1 && choosen < numOfFile.mp3 - 1) {
        choosen++;
        if (choosen % 14 == 0) refresh = 1;
        needReprint = 1;
      } else if (keySta == 2) {
        sofSta = 4;
				show_Title();
				stack now;
				now.nums = numOfFile.mp3 - choosen;
				getData(&now, 0);
				vs1053b_play_music(now.path);
				show_Title();
				sofSta = 1;
				refresh=1;
				needReprint =1;
      } else if (keySta == 3) {
        sofSta = 0;
        choosen = 0;
        show_Title();
        needReprint = 1;
      }
    } else if (sofSta == 2) {
      if (keySta == 0) {
        if (choosen > 0) {
          choosen--;
          if (choosen % 14 == 13) refresh = 1;
          needReprint = 1;
        }
      } else if (keySta == 1) {
        if (choosen < numOfFile.txt - 1) {
          choosen++;
          if (choosen % 14 == 0) refresh = 1;
          needReprint = 1;
        }
      } else if (keySta == 2) {
        sofSta = 5;
        read_Text(choosen);
        sofSta = 2;
        show_Title();
        refresh = 1;
        needReprint = 1;

      } else if (keySta == 3) {
        sofSta = 0;
        choosen = 1;
        show_Title();
        needReprint = 1;

      }
    } else if (sofSta == 3) {
      if (keySta == 0) {
        if (choosen > 0) {
          choosen--;
          if (choosen % 14 == 13) refresh = 1;
          needReprint = 1;

        }
      } else if (keySta == 1) {
        if (choosen < numOfFile.bmp - 1) {
          choosen++;
          if (choosen % 14 == 0) refresh = 1;
          needReprint = 1;

        }
      } else if (keySta == 2) {
        sofSta = 6;
        needReprint = 1;

      } else if (keySta == 3) {
        sofSta = 0;
        choosen = 2;
        show_Title();
        needReprint = 1;

      }
    } else if (sofSta == 6) {
      if (keySta == 3) {
        sofSta = 3;
        show_Title();
        refresh = 1;
        needReprint = 1;

      }
    }

    stack now;
    if (sofSta == 0 && needReprint == 1) {
      show_Main_Menu(choosen);
      needReprint = 0;
    } else if (sofSta == 1 && needReprint == 1) {
      now.nums = numOfFile.mp3;
      show_Sub_Menu(&now, choosen, 0, refresh);
      refresh = 0;
      needReprint = 0;
    } else if (sofSta == 2 && needReprint == 1) {
      now.nums = numOfFile.txt;
      show_Sub_Menu(&now, choosen, 1, refresh);
      refresh = 0;
      needReprint = 0;
    } else if (sofSta == 3 && needReprint == 1) {
      now.nums = numOfFile.bmp;
      show_Sub_Menu(&now, choosen, 2, refresh);
      refresh = 0;
      needReprint = 0;
    } else if (sofSta == 6 && needReprint == 1) {
      show_Picture(choosen);
      needReprint = 0;
    }
  /* USER CODE END WHILE */

  /* USER CODE BEGIN 3 */
	HAL_Delay(delayTime);
  }
  /* USER CODE END 3 */

}

/** System Clock Configuration
*/
void SystemClock_Config(void)
{

  RCC_OscInitTypeDef RCC_OscInitStruct;
  RCC_ClkInitTypeDef RCC_ClkInitStruct;
  RCC_PeriphCLKInitTypeDef PeriphClkInitStruct;

    /**Configure the main internal regulator output voltage
    */
  __HAL_RCC_PWR_CLK_ENABLE();

  __HAL_PWR_VOLTAGESCALING_CONFIG(PWR_REGULATOR_VOLTAGE_SCALE1);

    /**Initializes the CPU, AHB and APB busses clocks
    */
  RCC_OscInitStruct.OscillatorType = RCC_OSCILLATORTYPE_LSI|RCC_OSCILLATORTYPE_HSE;
  RCC_OscInitStruct.HSEState = RCC_HSE_ON;
  RCC_OscInitStruct.LSIState = RCC_LSI_ON;
  RCC_OscInitStruct.PLL.PLLState = RCC_PLL_ON;
  RCC_OscInitStruct.PLL.PLLSource = RCC_PLLSOURCE_HSE;
  RCC_OscInitStruct.PLL.PLLM = 4;
  RCC_OscInitStruct.PLL.PLLN = 72;
  RCC_OscInitStruct.PLL.PLLP = RCC_PLLP_DIV2;
  RCC_OscInitStruct.PLL.PLLQ = 3;
  if (HAL_RCC_OscConfig(&RCC_OscInitStruct) != HAL_OK)
  {
    _Error_Handler(__FILE__, __LINE__);
  }

    /**Initializes the CPU, AHB and APB busses clocks
    */
  RCC_ClkInitStruct.ClockType = RCC_CLOCKTYPE_HCLK|RCC_CLOCKTYPE_SYSCLK
                              |RCC_CLOCKTYPE_PCLK1|RCC_CLOCKTYPE_PCLK2;
  RCC_ClkInitStruct.SYSCLKSource = RCC_SYSCLKSOURCE_PLLCLK;
  RCC_ClkInitStruct.AHBCLKDivider = RCC_SYSCLK_DIV1;
  RCC_ClkInitStruct.APB1CLKDivider = RCC_HCLK_DIV2;
  RCC_ClkInitStruct.APB2CLKDivider = RCC_HCLK_DIV1;

  if (HAL_RCC_ClockConfig(&RCC_ClkInitStruct, FLASH_LATENCY_2) != HAL_OK)
  {
    _Error_Handler(__FILE__, __LINE__);
  }

  PeriphClkInitStruct.PeriphClockSelection = RCC_PERIPHCLK_RTC;
  PeriphClkInitStruct.RTCClockSelection = RCC_RTCCLKSOURCE_LSI;
  if (HAL_RCCEx_PeriphCLKConfig(&PeriphClkInitStruct) != HAL_OK)
  {
    _Error_Handler(__FILE__, __LINE__);
  }

    /**Configure the Systick interrupt time
    */
  HAL_SYSTICK_Config(HAL_RCC_GetHCLKFreq()/1000);

    /**Configure the Systick
    */
  HAL_SYSTICK_CLKSourceConfig(SYSTICK_CLKSOURCE_HCLK);

  /* SysTick_IRQn interrupt configuration */
  HAL_NVIC_SetPriority(SysTick_IRQn, 0, 0);
}

/* RTC init function */
static void MX_RTC_Init(void)
{

  RTC_TimeTypeDef sTime;
  RTC_DateTypeDef sDate;

    /**Initialize RTC Only
    */
  hrtc.Instance = RTC;
  hrtc.Init.HourFormat = RTC_HOURFORMAT_24;
  hrtc.Init.AsynchPrediv = 127;
  hrtc.Init.SynchPrediv = 255;
  hrtc.Init.OutPut = RTC_OUTPUT_DISABLE;
  hrtc.Init.OutPutPolarity = RTC_OUTPUT_POLARITY_HIGH;
  hrtc.Init.OutPutType = RTC_OUTPUT_TYPE_OPENDRAIN;
  if (HAL_RTC_Init(&hrtc) != HAL_OK)
  {
    _Error_Handler(__FILE__, __LINE__);
  }

    /**Initialize RTC and set the Time and Date
    */
  if(HAL_RTCEx_BKUPRead(&hrtc, RTC_BKP_DR0) != 0x32F2){
  sTime.Hours = 15;
  sTime.Minutes = 38;
  sTime.Seconds = 0;
  sTime.DayLightSaving = RTC_DAYLIGHTSAVING_NONE;
  sTime.StoreOperation = RTC_STOREOPERATION_SET;
  if (HAL_RTC_SetTime(&hrtc, &sTime, RTC_FORMAT_BIN) != HAL_OK)
  {
    _Error_Handler(__FILE__, __LINE__);
  }

  sDate.WeekDay = RTC_WEEKDAY_WEDNESDAY;
  sDate.Month = RTC_MONTH_FEBRUARY;
  sDate.Date = 7;
  sDate.Year = 18;

  if (HAL_RTC_SetDate(&hrtc, &sDate, RTC_FORMAT_BIN) != HAL_OK)
  {
    _Error_Handler(__FILE__, __LINE__);
  }

    HAL_RTCEx_BKUPWrite(&hrtc,RTC_BKP_DR0,0x32F2);
  }

}

/* SDIO init function */
static void MX_SDIO_SD_Init(void)
{

  hsd.Instance = SDIO;
  hsd.Init.ClockEdge = SDIO_CLOCK_EDGE_RISING;
  hsd.Init.ClockBypass = SDIO_CLOCK_BYPASS_DISABLE;
  hsd.Init.ClockPowerSave = SDIO_CLOCK_POWER_SAVE_DISABLE;
  hsd.Init.BusWide = SDIO_BUS_WIDE_1B;
  hsd.Init.HardwareFlowControl = SDIO_HARDWARE_FLOW_CONTROL_DISABLE;
  hsd.Init.ClockDiv = 4;

}

/* SPI1 init function */
static void MX_SPI1_Init(void)
{

  /* SPI1 parameter configuration*/
  hspi1.Instance = SPI1;
  hspi1.Init.Mode = SPI_MODE_MASTER;
  hspi1.Init.Direction = SPI_DIRECTION_2LINES;
  hspi1.Init.DataSize = SPI_DATASIZE_8BIT;
  hspi1.Init.CLKPolarity = SPI_POLARITY_HIGH;
  hspi1.Init.CLKPhase = SPI_PHASE_1EDGE;
  hspi1.Init.NSS = SPI_NSS_SOFT;
  hspi1.Init.BaudRatePrescaler = SPI_BAUDRATEPRESCALER_8;
  hspi1.Init.FirstBit = SPI_FIRSTBIT_MSB;
  hspi1.Init.TIMode = SPI_TIMODE_DISABLE;
  hspi1.Init.CRCCalculation = SPI_CRCCALCULATION_DISABLE;
  hspi1.Init.CRCPolynomial = 10;
  if (HAL_SPI_Init(&hspi1) != HAL_OK)
  {
    _Error_Handler(__FILE__, __LINE__);
  }

}

/* SPI2 init function */
static void MX_SPI2_Init(void)
{

  /* SPI2 parameter configuration*/
  hspi2.Instance = SPI2;
  hspi2.Init.Mode = SPI_MODE_MASTER;
  hspi2.Init.Direction = SPI_DIRECTION_2LINES;
  hspi2.Init.DataSize = SPI_DATASIZE_8BIT;
  hspi2.Init.CLKPolarity = SPI_POLARITY_LOW;
  hspi2.Init.CLKPhase = SPI_PHASE_1EDGE;
  hspi2.Init.NSS = SPI_NSS_SOFT;
  hspi2.Init.BaudRatePrescaler = SPI_BAUDRATEPRESCALER_4;
  hspi2.Init.FirstBit = SPI_FIRSTBIT_MSB;
  hspi2.Init.TIMode = SPI_TIMODE_DISABLE;
  hspi2.Init.CRCCalculation = SPI_CRCCALCULATION_DISABLE;
  hspi2.Init.CRCPolynomial = 10;
  if (HAL_SPI_Init(&hspi2) != HAL_OK)
  {
    _Error_Handler(__FILE__, __LINE__);
  }

}

/** Configure pins as
        * Analog
        * Input
        * Output
        * EVENT_OUT
        * EXTI
*/
static void MX_GPIO_Init(void)
{

  GPIO_InitTypeDef GPIO_InitStruct;

  /* GPIO Ports Clock Enable */
  __HAL_RCC_GPIOE_CLK_ENABLE();
  __HAL_RCC_GPIOF_CLK_ENABLE();
  __HAL_RCC_GPIOH_CLK_ENABLE();
  __HAL_RCC_GPIOC_CLK_ENABLE();
  __HAL_RCC_GPIOA_CLK_ENABLE();
  __HAL_RCC_GPIOB_CLK_ENABLE();
  __HAL_RCC_GPIOD_CLK_ENABLE();

  /*Configure GPIO pin Output Level */
  HAL_GPIO_WritePin(GPIOB, GPIO_PIN_1|GPIO_PIN_2|GPIO_PIN_3|GPIO_PIN_4
                          |GPIO_PIN_5, GPIO_PIN_RESET);

  /*Configure GPIO pins : PF4 PF5 PF6 PF7 */
  GPIO_InitStruct.Pin = GPIO_PIN_4|GPIO_PIN_5|GPIO_PIN_6|GPIO_PIN_7;
  GPIO_InitStruct.Mode = GPIO_MODE_INPUT;
  GPIO_InitStruct.Pull = GPIO_PULLUP;
  HAL_GPIO_Init(GPIOF, &GPIO_InitStruct);

  /*Configure GPIO pins : PB1 PB2 PB5 */
  GPIO_InitStruct.Pin = GPIO_PIN_1|GPIO_PIN_2|GPIO_PIN_5;
  GPIO_InitStruct.Mode = GPIO_MODE_OUTPUT_PP;
  GPIO_InitStruct.Pull = GPIO_NOPULL;
  GPIO_InitStruct.Speed = GPIO_SPEED_FREQ_MEDIUM;
  HAL_GPIO_Init(GPIOB, &GPIO_InitStruct);

  /*Configure GPIO pins : PB3 PB4 */
  GPIO_InitStruct.Pin = GPIO_PIN_3|GPIO_PIN_4;
  GPIO_InitStruct.Mode = GPIO_MODE_OUTPUT_PP;
  GPIO_InitStruct.Pull = GPIO_NOPULL;
  GPIO_InitStruct.Speed = GPIO_SPEED_FREQ_LOW;
  HAL_GPIO_Init(GPIOB, &GPIO_InitStruct);

  /*Configure GPIO pin : PB6 */
  GPIO_InitStruct.Pin = GPIO_PIN_6;
  GPIO_InitStruct.Mode = GPIO_MODE_INPUT;
  GPIO_InitStruct.Pull = GPIO_NOPULL;
  HAL_GPIO_Init(GPIOB, &GPIO_InitStruct);

}

void _Error_Handler(char * file, int line)
{
  while(1)
  {
  }
}

/************************ (C) COPYRIGHT STMicroelectronics *****END OF FILE****/
